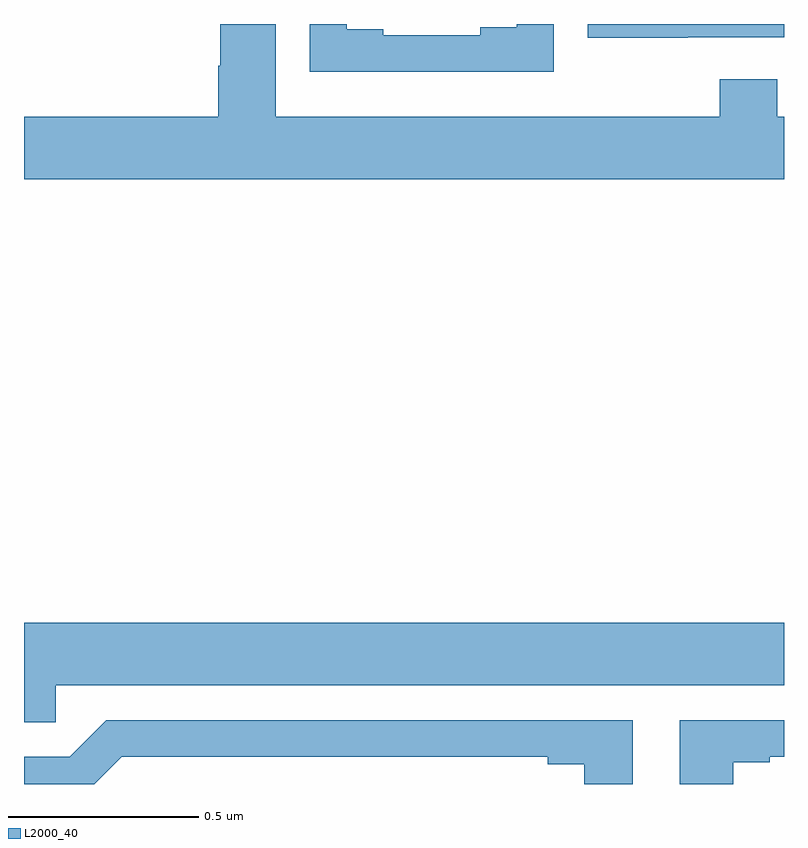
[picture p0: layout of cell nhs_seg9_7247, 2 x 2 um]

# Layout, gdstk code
import gdstk
lib = gdstk.Library(unit=1e-6, precision=1e-09)
def P(c, l, *ps):  # polygons
    for p in ps: c.add(gdstk.Polygon(p, *l))
L2000_40 = (2000, 40)

nhs_seg9_7247 = lib.new_cell('nhs_seg9_7247')
P(nhs_seg9_7247, L2000_40, [(204,1191.256),(203.982,1191.256),(203.982,1191.354),(203.831,1191.354),(203.831,1191.256),(202.663,1191.256),(202.663,1191.5),(202.516,1191.5),(202.516,1191.39),(202.511,1191.39),(202.511,1191.256),(202,1191.256),(202,1191.092),(204,1191.092)],
  [(203.394,1191.5),(203.297,1191.5),(203.297,1191.491),(203.201,1191.491),(203.201,1191.471),(202.945,1191.471),(202.945,1191.486),(202.849,1191.486),(202.849,1191.5),(202.752,1191.5),(202.752,1191.375),(203.394,1191.375)],
  [(203.747,1191.465),(204,1191.465),(204,1191.5),(203.484,1191.5),(203.484,1191.464),(203.747,1191.464)],
  [(202.083,1189.76),(204,1189.76),(204,1189.924),(202,1189.924),(202,1189.662),(202.083,1189.662)],
  [(203.866,1189.557),(203.962,1189.557),(203.962,1189.572),(204,1189.572),(204,1189.668),(203.726,1189.668),(203.726,1189.5),(203.866,1189.5)],
  [(202.257,1189.572),(203.378,1189.572),(203.378,1189.552),(203.474,1189.552),(203.474,1189.5),(203.602,1189.5),(203.602,1189.668),(202.217,1189.668),(202.121,1189.572),(202,1189.572),(202,1189.5),(202.185,1189.5)])

lib.write_gds('nhs_seg9_7247.gds')
